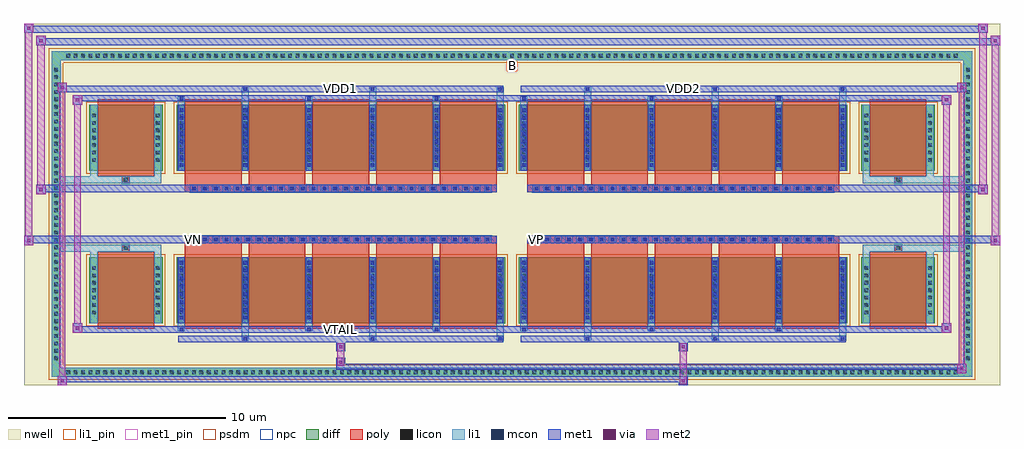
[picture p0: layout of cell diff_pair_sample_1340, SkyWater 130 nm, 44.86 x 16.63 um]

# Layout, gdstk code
import gdstk
lib = gdstk.Library(unit=1e-6, precision=5e-09)
def R(c, l, rs):  # rectangles x0, y0, x1, y1
    for r in rs: c.add(gdstk.rectangle(r[:2], r[2:], *l))
def A(c, l, x, y, w, h, nx, ny, dx, dy):  # array of equal rectangles
    R(c, l, [(x+i*dx, y+j*dy, x+i*dx+w, y+j*dy+h) for i in range(nx) for j in range(ny)])
def P(c, l, *ps):  # polygons
    for p in ps: c.add(gdstk.Polygon(p, *l))
nwell = (64, 20)
diff = (65, 20)
poly = (66, 20)
licon = (66, 44)
li1_pin = (67, 16)
li1 = (67, 20)
mcon = (67, 44)
met1_pin = (68, 16)
met1 = (68, 20)
via = (68, 44)
met2 = (69, 20)
psdm = (94, 20)
npc = (95, 20)

diff_pair_sample_1340 = lib.new_cell('diff_pair_sample_1340')
R(diff_pair_sample_1340, nwell, [(-22.43,-7.88,22.43,8.75), (-19.75,-6.07,-0.01,-0.805), (0.01,-6.07,19.75,-0.805), (-19.75,0.805,-0.01,6.07), (0.01,0.805,19.75,6.07)])
A(diff_pair_sample_1340, diff, -20.605, -7.48, 0.41, 0.41, 121, 2, 0.34, 14.55)
A(diff_pair_sample_1340, diff, -21.16, -6.835, 0.41, 0.41, 1, 40, 0, 0.34)
A(diff_pair_sample_1340, diff, 20.75, -6.835, 0.41, 0.41, 1, 40, 0, 0.34)
R(diff_pair_sample_1340, diff, [(-20.605,-7.48,20.605,-7.07), (-21.16,-6.835,-20.75,6.835), (20.75,-6.835,21.16,6.835), (-19.44,-5.025,-16.06,-1.985), (-15.42,-5.025,-0.32,-1.985), (0.32,-5.025,15.42,-1.985), (16.06,-5.025,19.44,-1.985), (-19.44,1.985,-16.06,5.025), (-15.42,1.985,-0.32,5.025), (0.32,1.985,15.42,5.025), (16.06,1.985,19.44,5.025), (-20.605,7.07,20.605,7.48)])
P(diff_pair_sample_1340, diff, [(21.16,7.48),(-21.16,7.48),(-21.16,-7.07),(-20.75,-7.07),(-20.75,7.07),(20.75,7.07),(20.75,-7.07),(-20.75,-7.07),(-21.16,-7.07),(-21.16,-7.48),(21.16,-7.48)])
A(diff_pair_sample_1340, poly, -15.03, -5.275, 2.6, 3.54, 5, 2, 2.93, 7.01)
A(diff_pair_sample_1340, poly, 0.71, -5.275, 2.6, 3.54, 5, 2, 2.93, 7.01)
A(diff_pair_sample_1340, poly, -15.03, -1.735, 2.6, 0.4, 5, 2, 2.93, 3.07)
A(diff_pair_sample_1340, poly, 0.71, -1.735, 2.6, 0.4, 5, 2, 2.93, 3.07)
A(diff_pair_sample_1340, poly, -14.785, -1.335, 0.33, 0.33, 28, 2, 0.5, 2.34)
A(diff_pair_sample_1340, poly, 0.955, -1.335, 0.33, 0.33, 28, 2, 0.5, 2.34)
R(diff_pair_sample_1340, poly, [(-19.05,-5.275,-16.45,-1.735), (16.45,-5.275,19.05,-1.735), (-17.915,-1.735,-17.585,-1.405), (-17.915,-1.735,-17.585,-1.405), (17.585,-1.735,17.915,-1.405), (17.585,-1.735,17.915,-1.405), (-15.03,-1.335,-0.71,-1.005), (0.71,-1.335,15.03,-1.005), (-15.03,1.005,-0.71,1.335), (0.71,1.005,15.03,1.335), (-17.915,1.405,-17.585,1.735), (-17.915,1.405,-17.585,1.735), (17.585,1.405,17.915,1.735), (17.585,1.405,17.915,1.735), (-19.05,1.735,-16.45,5.275), (16.45,1.735,19.05,5.275)])
A(diff_pair_sample_1340, licon, -20.485, -7.36, 0.17, 0.17, 121, 2, 0.34, 14.55)
A(diff_pair_sample_1340, licon, -21.04, -6.715, 0.17, 0.17, 1, 40, 0, 0.34)
A(diff_pair_sample_1340, licon, 20.87, -6.715, 0.17, 0.17, 1, 40, 0, 0.34)
A(diff_pair_sample_1340, licon, -19.3, -4.61, 0.17, 0.17, 1, 7, 0, 0.34)
A(diff_pair_sample_1340, licon, -16.37, -4.61, 0.17, 0.17, 1, 7, 0, 0.34)
A(diff_pair_sample_1340, licon, -15.28, -4.61, 0.17, 0.17, 6, 7, 2.93, 0.34)
A(diff_pair_sample_1340, licon, 0.46, -4.61, 0.17, 0.17, 6, 7, 2.93, 0.34)
A(diff_pair_sample_1340, licon, 16.2, -4.61, 0.17, 0.17, 1, 7, 0, 0.34)
A(diff_pair_sample_1340, licon, 19.13, -4.61, 0.17, 0.17, 1, 7, 0, 0.34)
A(diff_pair_sample_1340, licon, -14.705, -1.255, 0.17, 0.17, 28, 2, 0.5, 2.34)
A(diff_pair_sample_1340, licon, 1.035, -1.255, 0.17, 0.17, 28, 2, 0.5, 2.34)
A(diff_pair_sample_1340, licon, -19.3, 2.4, 0.17, 0.17, 1, 7, 0, 0.34)
A(diff_pair_sample_1340, licon, -16.37, 2.4, 0.17, 0.17, 1, 7, 0, 0.34)
A(diff_pair_sample_1340, licon, -15.28, 2.4, 0.17, 0.17, 6, 7, 2.93, 0.34)
A(diff_pair_sample_1340, licon, 0.46, 2.4, 0.17, 0.17, 6, 7, 2.93, 0.34)
A(diff_pair_sample_1340, licon, 16.2, 2.4, 0.17, 0.17, 1, 7, 0, 0.34)
A(diff_pair_sample_1340, licon, 19.13, 2.4, 0.17, 0.17, 1, 7, 0, 0.34)
R(diff_pair_sample_1340, licon, [(-17.835,-1.655,-17.665,-1.485), (17.665,-1.655,17.835,-1.485), (-17.835,1.485,-17.665,1.655), (17.665,1.485,17.835,1.655)])
R(diff_pair_sample_1340, li1_pin, [(-0.25,6.57,0.25,7.07)])
A(diff_pair_sample_1340, li1, -20.565, -7.44, 0.33, 0.33, 121, 2, 0.34, 14.55)
A(diff_pair_sample_1340, li1, -21.12, -6.795, 0.33, 0.33, 1, 40, 0, 0.34)
A(diff_pair_sample_1340, li1, 20.79, -6.795, 0.33, 0.33, 1, 40, 0, 0.34)
A(diff_pair_sample_1340, li1, -12.43, -5.83, 0.33, 0.805, 3, 2, 5.86, 10.855)
A(diff_pair_sample_1340, li1, -12.35, -5.83, 0.17, 0.17, 3, 2, 5.86, 11.49)
A(diff_pair_sample_1340, li1, 3.31, -5.83, 0.33, 0.805, 3, 2, 5.86, 10.855)
A(diff_pair_sample_1340, li1, 3.39, -5.83, 0.17, 0.17, 3, 2, 5.86, 11.49)
A(diff_pair_sample_1340, li1, -15.36, -5.4, 0.33, 0.375, 3, 2, 5.86, 10.425)
A(diff_pair_sample_1340, li1, -15.28, -5.4, 0.17, 0.17, 3, 2, 5.86, 10.63)
A(diff_pair_sample_1340, li1, 0.38, -5.4, 0.33, 0.375, 3, 2, 5.86, 10.425)
A(diff_pair_sample_1340, li1, 0.46, -5.4, 0.17, 0.17, 3, 2, 5.86, 10.63)
A(diff_pair_sample_1340, li1, -15.36, -5.025, 0.33, 3.04, 6, 2, 2.93, 7.01)
A(diff_pair_sample_1340, li1, 0.38, -5.025, 0.33, 3.04, 6, 2, 2.93, 7.01)
A(diff_pair_sample_1340, li1, -15.28, -4.85, 0.17, 0.17, 6, 8, 2.93, 0.36)
A(diff_pair_sample_1340, li1, -15.28, -4.85, 0.17, 2.69, 6, 2, 2.93, 7.01)
A(diff_pair_sample_1340, li1, 0.46, -4.85, 0.17, 0.17, 6, 8, 2.93, 0.36)
A(diff_pair_sample_1340, li1, 0.46, -4.85, 0.17, 2.69, 6, 2, 2.93, 7.01)
A(diff_pair_sample_1340, li1, -19.38, -4.69, 0.33, 0.33, 1, 7, 0, 0.34)
A(diff_pair_sample_1340, li1, -16.45, -4.69, 0.33, 0.33, 1, 7, 0, 0.34)
A(diff_pair_sample_1340, li1, -15.36, -4.69, 0.33, 0.33, 6, 7, 2.93, 0.34)
A(diff_pair_sample_1340, li1, 0.38, -4.69, 0.33, 0.33, 6, 7, 2.93, 0.34)
A(diff_pair_sample_1340, li1, 16.12, -4.69, 0.33, 0.33, 1, 7, 0, 0.34)
A(diff_pair_sample_1340, li1, 19.05, -4.69, 0.33, 0.33, 1, 7, 0, 0.34)
A(diff_pair_sample_1340, li1, -14.785, -1.335, 0.33, 0.33, 28, 2, 0.5, 2.34)
A(diff_pair_sample_1340, li1, 0.955, -1.335, 0.33, 0.33, 28, 2, 0.5, 2.34)
A(diff_pair_sample_1340, li1, -15.28, 2.16, 0.17, 0.17, 6, 8, 2.93, 0.36)
A(diff_pair_sample_1340, li1, 0.46, 2.16, 0.17, 0.17, 6, 8, 2.93, 0.36)
A(diff_pair_sample_1340, li1, -19.38, 2.32, 0.33, 0.33, 1, 7, 0, 0.34)
A(diff_pair_sample_1340, li1, -16.45, 2.32, 0.33, 0.33, 1, 7, 0, 0.34)
A(diff_pair_sample_1340, li1, -15.36, 2.32, 0.33, 0.33, 6, 7, 2.93, 0.34)
A(diff_pair_sample_1340, li1, 0.38, 2.32, 0.33, 0.33, 6, 7, 2.93, 0.34)
A(diff_pair_sample_1340, li1, 16.12, 2.32, 0.33, 0.33, 1, 7, 0, 0.34)
A(diff_pair_sample_1340, li1, 19.05, 2.32, 0.33, 0.33, 1, 7, 0, 0.34)
R(diff_pair_sample_1340, li1, [(-21.16,-7.48,-20.75,-7.07), (-21.16,-7.48,-20.75,-7.07), (-20.75,-7.48,20.75,-7.07), (20.75,-7.48,21.16,-7.07), (20.75,-7.48,21.16,-7.07), (-21.16,-7.07,-20.75,7.07), (20.75,-7.07,21.16,7.07), (-19.38,-5.025,-19.05,-1.985), (-16.45,-5.025,-16.12,-1.985), (16.12,-5.025,16.45,-1.985), (19.05,-5.025,19.38,-1.985), (-19.38,-1.985,-19.05,-1.405), (-16.45,-1.985,-16.12,-1.405), (16.12,-1.985,16.45,-1.405), (19.05,-1.985,19.38,-1.405), (-21.16,-1.735,-17.915,-1.405), (-19.38,-1.735,-17.915,-1.405), (-17.915,-1.735,-17.585,-1.405), (-17.585,-1.735,-16.12,-1.405), (16.12,-1.735,17.585,-1.405), (17.585,-1.735,17.915,-1.405), (17.585,-1.735,21.16,-1.405), (17.915,-1.735,19.38,-1.405), (-21.16,1.405,-17.915,1.735), (-19.38,1.405,-17.915,1.735), (-19.38,1.405,-19.05,1.985), (-17.915,1.405,-17.585,1.735), (-17.585,1.405,-16.12,1.735), (-16.45,1.405,-16.12,1.985), (16.12,1.405,17.585,1.735), (16.12,1.405,16.45,1.985), (17.585,1.405,17.915,1.735), (17.585,1.405,21.16,1.735), (17.915,1.405,19.38,1.735), (19.05,1.405,19.38,1.985), (-19.38,1.985,-19.05,5.025), (-16.45,1.985,-16.12,5.025), (16.12,1.985,16.45,5.025), (19.05,1.985,19.38,5.025), (-21.16,7.07,-20.75,7.48), (-21.16,7.07,-20.75,7.48), (-20.75,7.07,20.75,7.48), (20.75,7.07,21.16,7.48), (20.75,7.07,21.16,7.48)])
A(diff_pair_sample_1340, mcon, -12.35, -5.83, 0.17, 0.17, 3, 2, 5.86, 11.49)
A(diff_pair_sample_1340, mcon, 3.39, -5.83, 0.17, 0.17, 3, 2, 5.86, 11.49)
A(diff_pair_sample_1340, mcon, -15.28, -5.4, 0.17, 0.17, 3, 2, 5.86, 10.63)
A(diff_pair_sample_1340, mcon, 0.46, -5.4, 0.17, 0.17, 3, 2, 5.86, 10.63)
A(diff_pair_sample_1340, mcon, -15.28, -4.85, 0.17, 0.17, 6, 8, 2.93, 0.36)
A(diff_pair_sample_1340, mcon, 0.46, -4.85, 0.17, 0.17, 6, 8, 2.93, 0.36)
A(diff_pair_sample_1340, mcon, -14.705, -1.255, 0.17, 0.17, 28, 2, 0.5, 2.34)
A(diff_pair_sample_1340, mcon, 1.035, -1.255, 0.17, 0.17, 28, 2, 0.5, 2.34)
A(diff_pair_sample_1340, mcon, -15.28, 2.16, 0.17, 0.17, 6, 8, 2.93, 0.36)
A(diff_pair_sample_1340, mcon, 0.46, 2.16, 0.17, 0.17, 6, 8, 2.93, 0.36)
R(diff_pair_sample_1340, met1_pin, [(-8.005,-5.44,-7.735,-5.17), (-14.755,-1.295,-14.485,-1.025), (0.985,-1.295,1.255,-1.025), (-8.005,5.62,-7.735,5.89), (7.735,5.62,8.005,5.89)])
A(diff_pair_sample_1340, met1, -12.41, -5.89, 0.29, 0.29, 3, 2, 5.86, 11.49)
A(diff_pair_sample_1340, met1, 3.33, -5.89, 0.29, 0.29, 3, 2, 5.86, 11.49)
A(diff_pair_sample_1340, met1, -15.34, -5.46, 0.29, 0.29, 3, 2, 5.86, 10.63)
A(diff_pair_sample_1340, met1, 0.4, -5.46, 0.29, 0.29, 3, 2, 5.86, 10.63)
A(diff_pair_sample_1340, met1, -15.34, -5.025, 0.29, 3.04, 6, 2, 2.93, 7.01)
A(diff_pair_sample_1340, met1, 0.4, -5.025, 0.29, 3.04, 6, 2, 2.93, 7.01)
A(diff_pair_sample_1340, met1, -15.34, -4.91, 0.29, 0.29, 6, 8, 2.93, 0.36)
A(diff_pair_sample_1340, met1, 0.4, -4.91, 0.29, 0.29, 6, 8, 2.93, 0.36)
A(diff_pair_sample_1340, met1, -14.765, -1.315, 0.29, 0.29, 28, 2, 0.5, 2.34)
A(diff_pair_sample_1340, met1, 0.975, -1.315, 0.29, 0.29, 28, 2, 0.5, 2.34)
A(diff_pair_sample_1340, met1, -15.34, 2.1, 0.29, 0.29, 6, 8, 2.93, 0.36)
A(diff_pair_sample_1340, met1, 0.4, 2.1, 0.29, 0.29, 6, 8, 2.93, 0.36)
R(diff_pair_sample_1340, met1, [(-20.89,-7.88,-20.46,-7.45), (7.655,-7.88,8.085,-7.45), (-20.89,-7.74,8.085,-7.45), (20.46,-7.31,20.89,-6.88), (-8.085,-7.17,20.89,-6.88), (-8.085,-7.03,-7.655,-6.6), (-8.085,-6.32,-7.655,-5.89), (7.655,-6.32,8.085,-5.89), (-15.34,-5.89,-0.4,-5.6), (0.4,-5.89,15.34,-5.6), (-20.18,-5.46,-19.75,-5.03), (-20.18,-5.46,-15.34,-5.17), (-15.34,-5.46,-0.4,-5.17), (-0.4,-5.46,0.4,-5.17), (0.4,-5.46,15.34,-5.17), (15.34,-5.46,20.18,-5.17), (19.75,-5.46,20.18,-5.03), (-22.43,-1.435,-22,-1.005), (22,-1.435,22.43,-1.005), (-22.43,-1.335,-0.71,-1.005), (-15.03,-1.335,-0.71,-1.005), (0.71,-1.335,15.03,-1.005), (0.71,-1.335,22.43,-1.005), (-21.86,0.905,-21.43,1.335), (21.43,0.905,21.86,1.335), (-21.86,1.005,-15.03,1.335), (-15.03,1.005,-0.71,1.335), (0.71,1.005,15.03,1.335), (15.03,1.005,21.86,1.335), (-20.18,5.03,-19.75,5.46), (19.75,5.03,20.18,5.46), (-20.18,5.17,-15.34,5.46), (-15.34,5.17,-0.4,5.46), (-0.4,5.17,0.4,5.46), (0.4,5.17,15.34,5.46), (15.34,5.17,20.18,5.46), (-20.89,5.6,-20.46,6.03), (-20.89,5.6,-15.34,5.89), (-15.34,5.6,-0.4,5.89), (0.4,5.6,15.34,5.89), (15.34,5.6,20.89,5.89), (20.46,5.6,20.89,6.03), (-21.86,7.75,-21.43,8.18), (-21.86,7.75,-19.75,8.08), (-19.75,7.75,19.75,8.08), (19.75,7.75,22.43,8.08), (22,7.75,22.43,8.18), (-22.43,8.32,-22,8.75), (-22.43,8.32,-19.75,8.65), (-19.75,8.32,19.75,8.65), (19.75,8.32,21.86,8.65), (21.43,8.32,21.86,8.75)])
R(diff_pair_sample_1340, via, [(-20.75,-7.74,-20.6,-7.59), (7.795,-7.74,7.945,-7.59), (20.6,-7.17,20.75,-7.02), (-7.945,-6.89,-7.795,-6.74), (-7.945,-6.18,-7.795,-6.03), (7.795,-6.18,7.945,-6.03), (-20.04,-5.32,-19.89,-5.17), (19.89,-5.32,20.04,-5.17), (-22.29,-1.295,-22.14,-1.145), (22.14,-1.295,22.29,-1.145), (-21.72,1.045,-21.57,1.195), (21.57,1.045,21.72,1.195), (-20.04,5.17,-19.89,5.32), (19.89,5.17,20.04,5.32), (-20.75,5.74,-20.6,5.89), (20.6,5.74,20.75,5.89), (-21.72,7.89,-21.57,8.04), (22.14,7.89,22.29,8.04), (-22.29,8.46,-22.14,8.61), (21.57,8.46,21.72,8.61)])
R(diff_pair_sample_1340, met2, [(-20.89,-7.88,-20.46,-7.45), (-20.82,-7.88,-20.53,6.03), (-20.53,-7.88,-20.46,-7.45), (-20.84,-7.83,-20.51,-7.5), (7.705,-7.83,8.035,-7.5), (7.705,-7.5,8.035,-6.27), (20.46,-7.31,20.89,-6.88), (20.53,-7.31,20.82,6.03), (20.82,-7.31,20.89,-6.88), (20.51,-7.26,20.84,-6.93), (-8.035,-6.98,-7.705,-6.65), (-8.035,-6.65,-7.705,-6.27), (-8.035,-6.27,-7.705,-5.94), (7.705,-6.27,8.035,-5.94), (-20.18,-5.46,-19.75,-5.03), (-20.11,-5.46,-19.82,5.46), (-19.82,-5.46,-19.75,-5.03), (19.75,-5.46,20.18,-5.03), (19.82,-5.46,20.11,5.46), (20.11,-5.46,20.18,-5.03), (-20.13,-5.41,-19.8,-5.08), (19.8,-5.41,20.13,-5.08), (-22.43,-1.435,-22,-1.005), (-22.38,-1.435,-22.05,8.75), (-22.05,-1.435,-22,-1.005), (22,-1.435,22.43,-1.005), (22.05,-1.435,22.38,8.18), (22.38,-1.435,22.43,-1.005), (-22.38,-1.385,-22.05,-1.055), (22.05,-1.385,22.38,-1.055), (-21.86,0.905,-21.43,1.335), (-21.81,0.905,-21.48,8.18), (-21.48,0.905,-21.43,1.335), (21.43,0.905,21.86,1.335), (21.48,0.905,21.81,8.75), (21.81,0.905,21.86,1.335), (-21.81,0.955,-21.48,1.285), (21.48,0.955,21.81,1.285), (-20.18,5.03,-19.75,5.46), (-19.82,5.03,-19.75,5.46), (19.75,5.03,20.18,5.46), (20.11,5.03,20.18,5.46), (-20.13,5.08,-19.8,5.41), (19.8,5.08,20.13,5.41), (-20.89,5.6,-20.46,6.03), (-20.53,5.6,-20.46,6.03), (20.46,5.6,20.89,6.03), (20.82,5.6,20.89,6.03), (-20.84,5.65,-20.51,5.98), (20.51,5.65,20.84,5.98), (-21.86,7.75,-21.43,8.18), (-21.48,7.75,-21.43,8.18), (22,7.75,22.43,8.18), (22.38,7.75,22.43,8.18), (-21.81,7.8,-21.48,8.13), (22.05,7.8,22.38,8.13), (-22.43,8.32,-22,8.75), (-22.05,8.32,-22,8.75), (21.43,8.32,21.86,8.75), (21.81,8.32,21.86,8.75), (-22.38,8.37,-22.05,8.7), (21.48,8.37,21.81,8.7)])
R(diff_pair_sample_1340, psdm, [(-19.57,-5.155,-15.93,-1.855), (-15.55,-5.155,-0.19,-1.855), (0.19,-5.155,15.55,-1.855), (15.93,-5.155,19.57,-1.855), (-19.57,1.855,-15.93,5.155), (-15.55,1.855,-0.19,5.155), (0.19,1.855,15.55,5.155), (15.93,1.855,19.57,5.155)])
P(diff_pair_sample_1340, psdm, [(21.29,7.61),(-21.29,7.61),(-21.29,-6.94),(-20.62,-6.94),(-20.62,6.94),(20.62,6.94),(20.62,-6.94),(-20.62,-6.94),(-21.29,-6.94),(-21.29,-7.61),(21.29,-7.61)])
A(diff_pair_sample_1340, npc, -14.805, -1.355, 0.37, 0.37, 28, 2, 0.5, 2.34)
A(diff_pair_sample_1340, npc, 0.935, -1.355, 0.37, 0.37, 28, 2, 0.5, 2.34)
R(diff_pair_sample_1340, npc, [(-17.935,-1.755,-17.565,-1.385), (17.565,-1.755,17.935,-1.385), (-14.805,-1.355,-13.935,-0.985), (-14.805,-1.355,-13.935,-0.985), (-14.305,-1.355,-13.435,-0.985), (-14.305,-1.355,-13.435,-0.985), (-13.805,-1.355,-12.935,-0.985), (-13.805,-1.355,-12.935,-0.985), (-13.305,-1.355,-12.435,-0.985), (-13.305,-1.355,-12.435,-0.985), (-12.805,-1.355,-11.935,-0.985), (-12.805,-1.355,-11.935,-0.985), (-12.305,-1.355,-11.435,-0.985), (-12.305,-1.355,-11.435,-0.985), (-11.805,-1.355,-10.935,-0.985), (-11.805,-1.355,-10.935,-0.985), (-11.305,-1.355,-10.435,-0.985), (-11.305,-1.355,-10.435,-0.985), (-10.805,-1.355,-9.935,-0.985), (-10.805,-1.355,-9.935,-0.985), (-10.305,-1.355,-9.435,-0.985), (-10.305,-1.355,-9.435,-0.985), (-9.805,-1.355,-8.935,-0.985), (-9.805,-1.355,-8.935,-0.985), (-9.305,-1.355,-8.435,-0.985), (-9.305,-1.355,-8.435,-0.985), (-8.805,-1.355,-7.935,-0.985), (-8.805,-1.355,-7.935,-0.985), (-8.305,-1.355,-7.435,-0.985), (-8.305,-1.355,-7.435,-0.985), (-7.805,-1.355,-6.935,-0.985), (-7.805,-1.355,-6.935,-0.985), (-7.305,-1.355,-6.435,-0.985), (-7.305,-1.355,-6.435,-0.985), (-6.805,-1.355,-5.935,-0.985), (-6.805,-1.355,-5.935,-0.985), (-6.305,-1.355,-5.435,-0.985), (-6.305,-1.355,-5.435,-0.985), (-5.805,-1.355,-4.935,-0.985), (-5.805,-1.355,-4.935,-0.985), (-5.305,-1.355,-4.435,-0.985), (-5.305,-1.355,-4.435,-0.985), (-4.805,-1.355,-3.935,-0.985), (-4.805,-1.355,-3.935,-0.985), (-4.305,-1.355,-3.435,-0.985), (-4.305,-1.355,-3.435,-0.985), (-3.805,-1.355,-2.935,-0.985), (-3.805,-1.355,-2.935,-0.985), (-3.305,-1.355,-2.435,-0.985), (-3.305,-1.355,-2.435,-0.985), (-2.805,-1.355,-1.935,-0.985), (-2.805,-1.355,-1.935,-0.985), (-2.305,-1.355,-1.435,-0.985), (-2.305,-1.355,-1.435,-0.985), (-1.805,-1.355,-0.935,-0.985), (-1.805,-1.355,-0.935,-0.985), (0.935,-1.355,1.805,-0.985), (0.935,-1.355,1.805,-0.985), (1.435,-1.355,2.305,-0.985), (1.435,-1.355,2.305,-0.985), (1.935,-1.355,2.805,-0.985), (1.935,-1.355,2.805,-0.985), (2.435,-1.355,3.305,-0.985), (2.435,-1.355,3.305,-0.985), (2.935,-1.355,3.805,-0.985), (2.935,-1.355,3.805,-0.985), (3.435,-1.355,4.305,-0.985), (3.435,-1.355,4.305,-0.985), (3.935,-1.355,4.805,-0.985), (3.935,-1.355,4.805,-0.985), (4.435,-1.355,5.305,-0.985), (4.435,-1.355,5.305,-0.985), (4.935,-1.355,5.805,-0.985), (4.935,-1.355,5.805,-0.985), (5.435,-1.355,6.305,-0.985), (5.435,-1.355,6.305,-0.985), (5.935,-1.355,6.805,-0.985), (5.935,-1.355,6.805,-0.985), (6.435,-1.355,7.305,-0.985), (6.435,-1.355,7.305,-0.985), (6.935,-1.355,7.805,-0.985), (6.935,-1.355,7.805,-0.985), (7.435,-1.355,8.305,-0.985), (7.435,-1.355,8.305,-0.985), (7.935,-1.355,8.805,-0.985), (7.935,-1.355,8.805,-0.985), (8.435,-1.355,9.305,-0.985), (8.435,-1.355,9.305,-0.985), (8.935,-1.355,9.805,-0.985), (8.935,-1.355,9.805,-0.985), (9.435,-1.355,10.305,-0.985), (9.435,-1.355,10.305,-0.985), (9.935,-1.355,10.805,-0.985), (9.935,-1.355,10.805,-0.985), (10.435,-1.355,11.305,-0.985), (10.435,-1.355,11.305,-0.985), (10.935,-1.355,11.805,-0.985), (10.935,-1.355,11.805,-0.985), (11.435,-1.355,12.305,-0.985), (11.435,-1.355,12.305,-0.985), (11.935,-1.355,12.805,-0.985), (11.935,-1.355,12.805,-0.985), (12.435,-1.355,13.305,-0.985), (12.435,-1.355,13.305,-0.985), (12.935,-1.355,13.805,-0.985), (12.935,-1.355,13.805,-0.985), (13.435,-1.355,14.305,-0.985), (13.435,-1.355,14.305,-0.985), (13.935,-1.355,14.805,-0.985), (13.935,-1.355,14.805,-0.985), (-14.805,0.985,-13.935,1.355), (-14.805,0.985,-13.935,1.355), (-14.305,0.985,-13.435,1.355), (-14.305,0.985,-13.435,1.355), (-13.805,0.985,-12.935,1.355), (-13.805,0.985,-12.935,1.355), (-13.305,0.985,-12.435,1.355), (-13.305,0.985,-12.435,1.355), (-12.805,0.985,-11.935,1.355), (-12.805,0.985,-11.935,1.355), (-12.305,0.985,-11.435,1.355), (-12.305,0.985,-11.435,1.355), (-11.805,0.985,-10.935,1.355), (-11.805,0.985,-10.935,1.355), (-11.305,0.985,-10.435,1.355), (-11.305,0.985,-10.435,1.355), (-10.805,0.985,-9.935,1.355), (-10.805,0.985,-9.935,1.355), (-10.305,0.985,-9.435,1.355), (-10.305,0.985,-9.435,1.355), (-9.805,0.985,-8.935,1.355), (-9.805,0.985,-8.935,1.355), (-9.305,0.985,-8.435,1.355), (-9.305,0.985,-8.435,1.355), (-8.805,0.985,-7.935,1.355), (-8.805,0.985,-7.935,1.355), (-8.305,0.985,-7.435,1.355), (-8.305,0.985,-7.435,1.355), (-7.805,0.985,-6.935,1.355), (-7.805,0.985,-6.935,1.355), (-7.305,0.985,-6.435,1.355), (-7.305,0.985,-6.435,1.355), (-6.805,0.985,-5.935,1.355), (-6.805,0.985,-5.935,1.355), (-6.305,0.985,-5.435,1.355), (-6.305,0.985,-5.435,1.355), (-5.805,0.985,-4.935,1.355), (-5.805,0.985,-4.935,1.355), (-5.305,0.985,-4.435,1.355), (-5.305,0.985,-4.435,1.355), (-4.805,0.985,-3.935,1.355), (-4.805,0.985,-3.935,1.355), (-4.305,0.985,-3.435,1.355), (-4.305,0.985,-3.435,1.355), (-3.805,0.985,-2.935,1.355), (-3.805,0.985,-2.935,1.355), (-3.305,0.985,-2.435,1.355), (-3.305,0.985,-2.435,1.355), (-2.805,0.985,-1.935,1.355), (-2.805,0.985,-1.935,1.355), (-2.305,0.985,-1.435,1.355), (-2.305,0.985,-1.435,1.355), (-1.805,0.985,-0.935,1.355), (-1.805,0.985,-0.935,1.355), (0.935,0.985,1.805,1.355), (0.935,0.985,1.805,1.355), (1.435,0.985,2.305,1.355), (1.435,0.985,2.305,1.355), (1.935,0.985,2.805,1.355), (1.935,0.985,2.805,1.355), (2.435,0.985,3.305,1.355), (2.435,0.985,3.305,1.355), (2.935,0.985,3.805,1.355), (2.935,0.985,3.805,1.355), (3.435,0.985,4.305,1.355), (3.435,0.985,4.305,1.355), (3.935,0.985,4.805,1.355), (3.935,0.985,4.805,1.355), (4.435,0.985,5.305,1.355), (4.435,0.985,5.305,1.355), (4.935,0.985,5.805,1.355), (4.935,0.985,5.805,1.355), (5.435,0.985,6.305,1.355), (5.435,0.985,6.305,1.355), (5.935,0.985,6.805,1.355), (5.935,0.985,6.805,1.355), (6.435,0.985,7.305,1.355), (6.435,0.985,7.305,1.355), (6.935,0.985,7.805,1.355), (6.935,0.985,7.805,1.355), (7.435,0.985,8.305,1.355), (7.435,0.985,8.305,1.355), (7.935,0.985,8.805,1.355), (7.935,0.985,8.805,1.355), (8.435,0.985,9.305,1.355), (8.435,0.985,9.305,1.355), (8.935,0.985,9.805,1.355), (8.935,0.985,9.805,1.355), (9.435,0.985,10.305,1.355), (9.435,0.985,10.305,1.355), (9.935,0.985,10.805,1.355), (9.935,0.985,10.805,1.355), (10.435,0.985,11.305,1.355), (10.435,0.985,11.305,1.355), (10.935,0.985,11.805,1.355), (10.935,0.985,11.805,1.355), (11.435,0.985,12.305,1.355), (11.435,0.985,12.305,1.355), (11.935,0.985,12.805,1.355), (11.935,0.985,12.805,1.355), (12.435,0.985,13.305,1.355), (12.435,0.985,13.305,1.355), (12.935,0.985,13.805,1.355), (12.935,0.985,13.805,1.355), (13.435,0.985,14.305,1.355), (13.435,0.985,14.305,1.355), (13.935,0.985,14.805,1.355), (13.935,0.985,14.805,1.355), (-17.935,1.385,-17.565,1.755), (17.565,1.385,17.935,1.755)])
diff_pair_sample_1340.add(gdstk.Label('VTAIL', (-7.87,-5.305), layer=68, texttype=5))
diff_pair_sample_1340.add(gdstk.Label('VN', (-14.62,-1.16), layer=68, texttype=5))
diff_pair_sample_1340.add(gdstk.Label('VP', (1.12,-1.16), layer=68, texttype=5))
diff_pair_sample_1340.add(gdstk.Label('B', (0,6.82), layer=67, texttype=5))
diff_pair_sample_1340.add(gdstk.Label('VDD2', (7.87,5.755), layer=68, texttype=5))
diff_pair_sample_1340.add(gdstk.Label('VDD1', (-7.87,5.755), layer=68, texttype=5))

lib.write_gds('diff_pair_sample_1340.gds')
